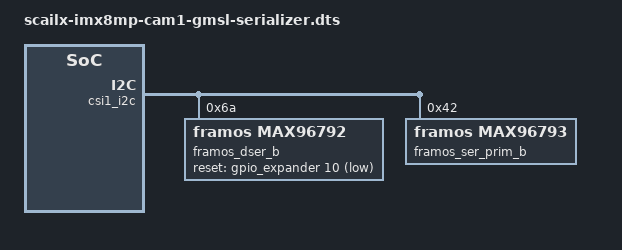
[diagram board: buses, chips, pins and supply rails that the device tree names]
// SPDX-License-Identifier: (GPL-2.0 OR MIT)
/*
 * Copyright (C) 2023 VideologyInc
 *
 */

/dts-v1/;
/plugin/;

#include <dt-bindings/gpio/gpio.h>

&{/chosen} {
	overlays {
		cam1-gmsl-serializer = __TIMESTAMP__;
	};
};

&csi1_i2c {
	#address-cells = <1>;
	#size-cells = <0>;

	framos_dser_b: max96792_b@6a {
		compatible = "framos,max96792";
		reg = <0x6a>;
		csi-mode = "2x4";
		max-src = <1>;
		reset-gpios = <&gpio_expander 10 GPIO_ACTIVE_LOW>;
		status = "okay";
	};

	framos_ser_prim_b: max96793_prim_b@42 {
		compatible = "framos,max96793";
		reg = <0x42>;
		gmsl-dser-device = <&framos_dser_b>;
		is-prim-ser;
		status = "okay";
	};
};

&sensor_csi1 {
	gmsl = "gmsl";
	gmsl-ser-device = <&framos_ser_prim_b>;
	gmsl-dser-device = <&framos_dser_b>;
    /delete-property/ rst-gpios;

	gmsl-link {
		src-csi-port = "b";
		dst-csi-port = "a";
		serdes-csi-link = "a";
		csi-mode = "1x4";
		st-vc = <0>;
		vc-id = <0>;
		num-lanes = <4>;
		streams = "raw12";
	};
};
